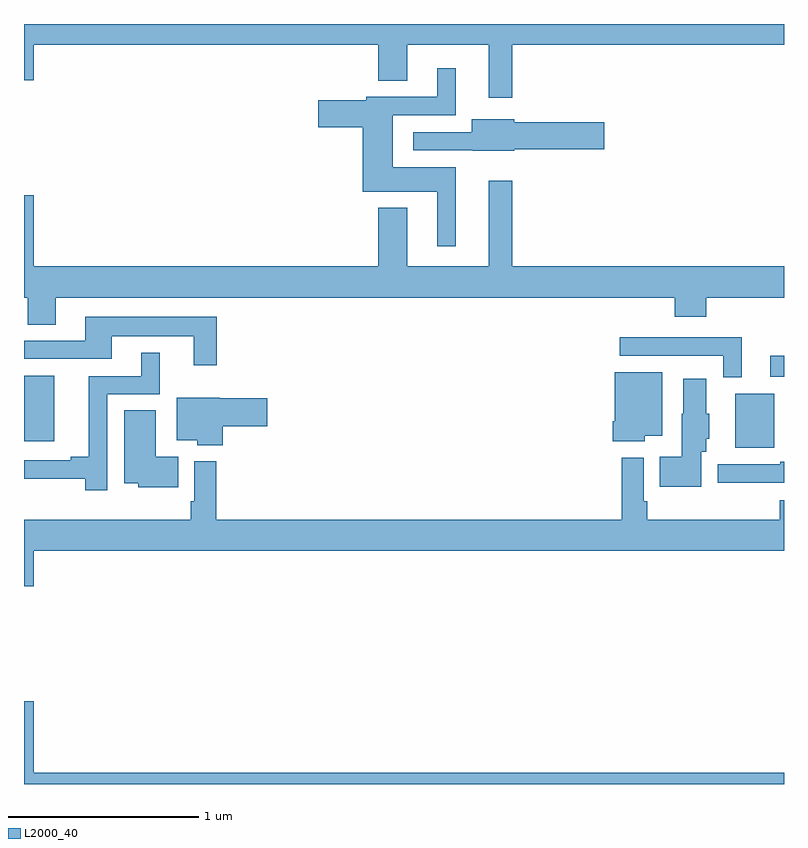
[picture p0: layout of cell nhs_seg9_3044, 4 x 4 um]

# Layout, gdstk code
import gdstk
lib = gdstk.Library(unit=1e-6, precision=1e-09)
def R(c, l, rs):  # rectangles x0, y0, x1, y1
    for r in rs: c.add(gdstk.rectangle(r[:2], r[2:], *l))
def P(c, l, *ps):  # polygons
    for p in ps: c.add(gdstk.Polygon(p, *l))
L2000_40 = (2000, 40)

nhs_seg9_3044 = lib.new_cell('nhs_seg9_3044')
R(nhs_seg9_3044, L2000_40, [(288.743,1222.271,288.949,1222.555), (288.927,1222.644,289,1222.753)])
P(nhs_seg9_3044, L2000_40, [(287.569,1224.392),(289,1224.392),(289,1224.5),(285,1224.5),(285,1224.204),(285.052,1224.204),(285.052,1224.392),(286.865,1224.392),(286.865,1224.202),(287.017,1224.202),(287.017,1224.392),(287.447,1224.392),(287.447,1224.111),(287.569,1224.111)],
  [(287.272,1223.746),(286.942,1223.746),(286.942,1224.021),(287.272,1224.021),(287.272,1224.268),(287.174,1224.268),(287.174,1224.117),(286.8,1224.117),(286.8,1224.099),(286.548,1224.099),(286.548,1223.957),(286.784,1223.957),(286.784,1223.618),(287.174,1223.618),(287.174,1223.331),(287.272,1223.331)],
  [(287.58,1223.84),(288.055,1223.84),(288.055,1223.982),(287.58,1223.982),(287.58,1223.998),(287.357,1223.998),(287.357,1223.931),(287.049,1223.931),(287.049,1223.835),(287.361,1223.835),(287.361,1223.834),(287.58,1223.834)],
  [(285.166,1223.06),(288.425,1223.06),(288.425,1222.958),(288.59,1222.958),(288.59,1223.06),(289,1223.06),(289,1223.224),(287.569,1223.224),(287.569,1223.674),(287.447,1223.674),(287.447,1223.224),(287.017,1223.224),(287.017,1223.533),(286.865,1223.533),(286.865,1223.224),(285.052,1223.224),(285.052,1223.599),(285,1223.599),(285,1223.06),(285.019,1223.06),(285.019,1222.918),(285.166,1222.918)],
  [(286.015,1222.96),(285.323,1222.96),(285.323,1222.833),(285,1222.833),(285,1222.737),(285.463,1222.737),(285.463,1222.856),(285.893,1222.856),(285.893,1222.704),(286.015,1222.704)],
  [(288.778,1222.851),(288.135,1222.851),(288.135,1222.755),(288.681,1222.755),(288.681,1222.64),(288.778,1222.64)],
  [(285.438,1222.551),(285.715,1222.551),(285.715,1222.771),(285.617,1222.771),(285.617,1222.647),(285.341,1222.647),(285.341,1222.223),(285.245,1222.223),(285.245,1222.203),(285,1222.203),(285,1222.106),(285.322,1222.106),(285.322,1222.047),(285.438,1222.047)],
  [(288.268,1222.334),(288.358,1222.334),(288.358,1222.666),(288.11,1222.666),(288.11,1222.408),(288.098,1222.408),(288.098,1222.304),(288.268,1222.304)],
  [(285.16,1222.648),(285,1222.648),(285,1222.334),(285.002,1222.334),(285.002,1222.304),(285.16,1222.304)],
  [(288.565,1222.248),(288.592,1222.248),(288.592,1222.317),(288.607,1222.317),(288.607,1222.449),(288.592,1222.449),(288.592,1222.633),(288.47,1222.633),(288.47,1222.449),(288.461,1222.449),(288.461,1222.222),(288.346,1222.222),(288.346,1222.064),(288.565,1222.064)],
  [(286.046,1222.382),(286.279,1222.382),(286.279,1222.529),(286.029,1222.529),(286.029,1222.534),(285.803,1222.534),(285.803,1222.31),(285.912,1222.31),(285.912,1222.283),(286.046,1222.283)],
  [(285.812,1222.222),(285.694,1222.222),(285.694,1222.466),(285.527,1222.466),(285.527,1222.082),(285.6,1222.082),(285.6,1222.061),(285.812,1222.061)],
  [(285.052,1221.728),(289,1221.728),(289,1221.994),(288.977,1221.994),(288.977,1221.892),(288.281,1221.892),(288.281,1221.988),(288.261,1221.988),(288.261,1222.216),(288.145,1222.216),(288.145,1221.892),(286.013,1221.892),(286.013,1222.198),(285.897,1222.198),(285.897,1221.988),(285.877,1221.988),(285.877,1221.892),(285,1221.892),(285,1221.54),(285.052,1221.54)],
  [(288.893,1222.086),(289,1222.086),(289,1222.195),(288.98,1222.195),(288.98,1222.182),(288.651,1222.182),(288.651,1222.085),(288.893,1222.085)],
  [(285.052,1220.935),(285,1220.935),(285,1220.5),(289,1220.5),(289,1220.56),(285.052,1220.56)])

lib.write_gds('nhs_seg9_3044.gds')
